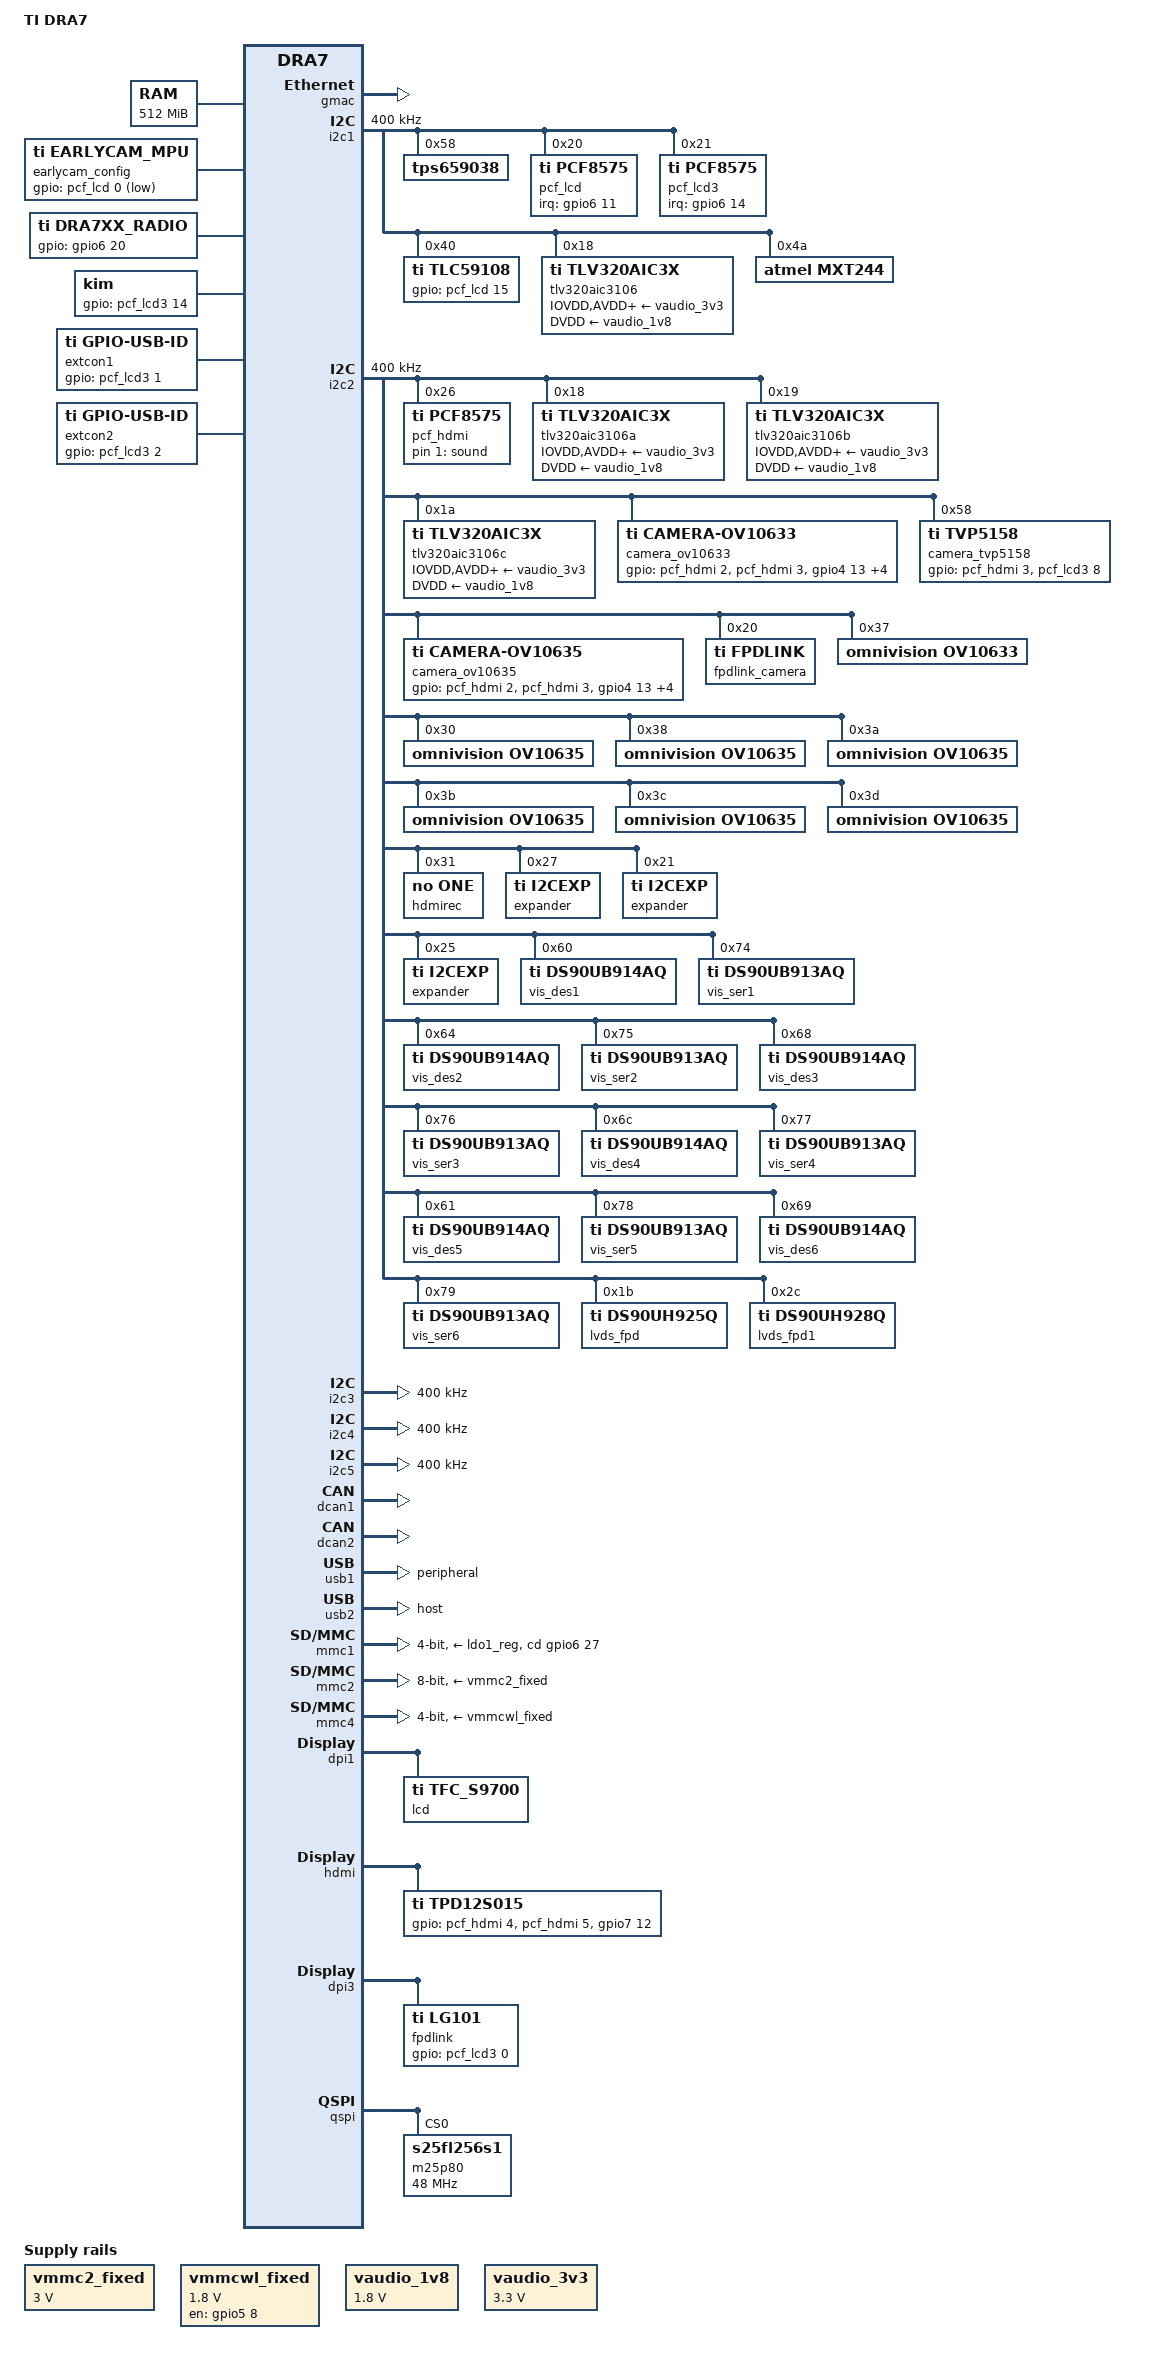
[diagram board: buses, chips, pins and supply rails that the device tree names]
/*
 * Copyright (C) 2013 Texas Instruments Incorporated - http://www.ti.com/
 *
 * This program is free software; you can redistribute it and/or modify
 * it under the terms of the GNU General Public License version 2 as
 * published by the Free Software Foundation.
 */
/dts-v1/;

/*
 * Memory is reserved for ipu1 for rearview camera
 */
/memreserve/ 0x8E000000 0x1000000;
/memreserve/ 0xA0000000 0x1800000;

/include/ "dra7.dtsi"

/ {
	model = "TI DRA7";
	compatible = "ti,dra7-evm", "ti,dra7";

	cpus {
		cpu@0 {
			cpu0-supply = <&abb_mpu>;
		};
	};

	memory {
		device_type = "memory";
		reg = <0x80000000 0x20000000>; /* 512 MB */
	};

	vmmc2_fixed: fixedregulator-mmc2 {
		compatible = "regulator-fixed";
		regulator-name = "vmmc2_fixed";
		regulator-min-microvolt = <3000000>;
		regulator-max-microvolt = <3000000>;
	};

	vmmcwl_fixed: fixedregulator-mmcwl {
		compatible = "regulator-fixed";
		regulator-name = "vmmcwl_fixed";
		regulator-min-microvolt = <1800000>;
		regulator-max-microvolt = <1800000>;
		gpio = <&gpio5 8 0>;	/* gpio5_8 */
		startup-delay-us = <70000>;
		enable-active-high;
	};

	wlcore {
		compatible = "wlcore";
		gpio = <135>;
	};

	earlycam_config {
		compatible = "ti,earlycam_mpu";
		gpios = <&pcf_lcd 0 1>; /* P0, CON_LCD_PWR_DN */
	};

	ocp {
		gpu: gpu@0x56000000 {
			gpu-supply = <&abb_gpu>;
		};
	};

	vaudio_1v8: fixedregulator-vaudio-dig {
		compatible = "regulator-fixed";
		regulator-name = "vdac_fixed";
		regulator-min-microvolt = <1800000>;
		regulator-max-microvolt = <1800000>;
		regulator-boot-on;
	};

	vaudio_3v3: fixedregulator-vaudio-anlg {
		compatible = "regulator-fixed";
		regulator-name = "vdac_fixed";
		regulator-min-microvolt = <3300000>;
		regulator-max-microvolt = <3300000>;
		regulator-boot-on;
	};

	sound {
		compatible = "ti,dra7-evm-sound";
		ti,model = "dra7evm";
		ti,always-on;

		gpios = <&pcf_hdmi 1 0>;

		/* Audio routing */
		ti,audio-routing =
			"LINE1L", "Line In",
			"LINE1R", "Line In",
			"MIC3L", "Mic Bias 2V",
			"MIC3R", "Mic Bias 2V",
			"Mic Bias 2V", "Main Mic",
			"Headphone", "HPLOUT",
			"Headphone", "HPROUT",
			"Line Out", "LLOUT",
			"Line Out", "RLOUT",
			"J3A LINE1L", "JAMR3 Stereo Aux In",
			"J3A LINE1R", "JAMR3 Stereo Aux In",
			"J3B LINE1L", "JAMR3 Mono Mic 1",
			"J3B LINE1R", "JAMR3 Mono Mic 2",
			"JAMR3 Line Out 1", "J3A LLOUT",
			"JAMR3 Line Out 1", "J3A RLOUT",
			"JAMR3 Line Out 2", "J3B LLOUT",
			"JAMR3 Line Out 2", "J3B RLOUT",
			"JAMR3 Line Out 3", "J3C LLOUT",
			"JAMR3 Line Out 3", "J3C RLOUT";

		/* Media DAI link */
		ti,media-cpu = <&mcasp3>;
		ti,media-codec = <&tlv320aic3106>;
		ti,media-mclk-freq = <5644800>;
		ti,media-slots = <2>;

		/* Multichannel DAI link */
		ti,multichannel-cpu = <&mcasp6>;
		ti,multichannel-codec-a = <&tlv320aic3106a>;
		ti,multichannel-codec-b = <&tlv320aic3106b>;
		ti,multichannel-codec-c = <&tlv320aic3106c>;
		ti,multichannel-slots = <8>;
		ti,multichannel-mclk-freq = <11289600>;
		ti,multichannel-shared;

		/* Bluetooth */
		ti,bt-cpu = <&mcasp7>;
		ti,bt-bclk-freq = <512000>;
	};

	sound_hdmi {
		compatible = "ti,omap-hdmi-tpd12s015-audio";
		ti,model = "OMAP5HDMI";
		ti,hdmi_audio = <&hdmi>;
		ti,level_shifter = <&tpd12s015>;
	};

	radio {
		compatible = "ti,dra7xx_radio";
		gpios = <&gpio6 20 0>;

		radio_helper1 {
			compatible = "ti,dra7xx_radio_subdev";
			ti,hwmods = "mcasp2";
			status = "okay";
		};
	};

	kim {
		compatible = "kim";
		nshutdown_gpio = <132>;
		dev_name = "/dev/ttyO2";
		flow_cntrl = <1>;
		baud_rate = <3686400>;
		gpios = <&pcf_lcd3 14 0>; /* pcf8575@21 P16 */
	};

	btwilink {
		compatible = "btwilink";
	};

	display_skipinit {
		skip_init =<1>;
	};

	extcon1: gpio_usbvid_extcon1 {
		compatible = "ti,gpio-usb-id";
		gpios = <&pcf_lcd3 1 0>;
		interrupt_mode = <0>;
		dr_mode = "peripheral";
	};

	extcon2: gpio_usbvid_extcon2 {
		compatible = "ti,gpio-usb-id";
		gpios = <&pcf_lcd3 2 0>;
		interrupt_mode = <0>;
		dr_mode = "host";
	};
};

&dra7_pmx_core {
        pinctrl-names = "default";
        pinctrl-0 = <
		&atl_pins
		&mcasp3_pins
		&mcasp6_pins
		&mcasp7_pins
		&mcasp8_pins
		&vout1_pins
		&vout3_pins
		&usb_pins
		&irq_pins
		&bt_uart3_pins
		&wl_pins
		&wlirq_pins
		&radio_pins
	>;

	i2c1_pins: pinmux_i2c1_pins {
		pinctrl-single,pins = <
			0x400 0x60000	/* i2c1_sda */
			0x404 0x60000	/* i2c1_scl */
		>;
	};

	atl_pins: pinmux_atl_pins {
		pinctrl-single,pins = <
			0x298 0x00000005	/* xref_clk1.atl_clk1 OUTPUT | MODE5 */
			0x29c 0x00000005	/* xref_clk2.atl_clk2 OUTPUT | MODE5 */
		>;
	};

	mcasp3_pins: pinmux_mcasp3_pins {
		pinctrl-single,pins = <
			0x324 0x00000180	/* mcasp3_aclkx.mcasp3_aclkx OUTPUT | MODE0 */
			0x328 0x00000180	/* mcasp3_fsx.mcasp3_fsx OUTPUT | MODE0 */
			0x32c 0x00000180	/* mcasp3_axr0.mcasp3_axr0 OUTPUT | MODE0 */
			0x330 0x00040160	/* mcasp3_axr1.mcasp3_axr1 INPUT | MODE0 */
		>;
	};

	mcasp6_pins: pinmux_mcasp6_pins {
		pinctrl-single,pins = <
			0x2d4 0x000001a1	/* mcasp1_axr8.mcasp6_axr0 OUTPUT | MODE1 */
			0x2d8 0x000401a1	/* mcasp1_axr9.mcasp6_axr1 INPUT | MODE 1 */
			0x2dc 0x000001a1	/* mcasp1_axr10.mcasp6_clkx OUTPUT | MODE1 */
			0x2e0 0x000001a1	/* mcasp1_axr11.mcasp6_fsx OUTPUT | MODE1 */
		>;
	};

	mcasp7_pins: pinmux_mcasp7_pins {
		pinctrl-single,pins = <
			0x2e4 0x000401a1	/* mcasp1_axr12.mcasp7_axr0 INPUT | MODE 1 */
			0x2e8 0x000001a1	/* mcasp1_axr13.mcasp7_axr1 OUTPUT | MODE 1 */
			0x2ec 0x000401a1	/* mcasp1_axr14.mcasp7_clkx INPUT | MODE1 */
			0x2f0 0x000401a1	/* mcasp1_axr15.mcasp7_fsx INPUT | MODE1 */
		>;
	};

	mcasp8_pins: pinmux_mcasp8_pins {
		pinctrl-single,pins = <
			0x2fc 0x00040001	/* mcasp2_aclkr.mcasp8_axr2 OUTPUT | MODE1 */
		>;
	};

	irq_pins: pinmux_irq_pins {
                pinctrl-single,pins = <
			0x420	0x1	/* Wakeup2 INPUT | MODE1 */
                >;
        };

	usb_pins: pinmux_usb_pins {
                pinctrl-single,pins = <
			0x280	0xc000e	/* DRV1_VBUS SLEW | PULLDEN | MODE14 */
			0x284	0xc000e	/* DRV2_VBUS SLEW | PULLDEN | MODE14 */
                >;
        };

	i2c2_pins: pinmux_i2c2_pins {
                pinctrl-single,pins = <
			0x408	0x60000	/* i2c2_sda INPUT | MODE0 */
			0x40C	0x60000	/* i2c2_scl INPUT | MODE0 */
                >;
        };

	vout1_pins: pinmux_vout1_pins {
		pinctrl-single,pins = <
			0x1C8	0x0	/* vout1_clk OUTPUT | MODE0 */
			0x1CC	0x0	/* vout1_de OUTPUT | MODE0 */
			0x1D0	0x0	/* vout1_fld OUTPUT | MODE0 */
			0x1D4	0x0	/* vout1_hsync OUTPUT | MODE0 */
			0x1D8	0x0	/* vout1_vsync OUTPUT | MODE0 */
			0x1DC	0x0	/* vout1_d0 OUTPUT | MODE0 */
			0x1E0	0x0	/* vout1_d1 OUTPUT | MODE0 */
			0x1E4	0x0	/* vout1_d2 OUTPUT | MODE0 */
			0x1E8	0x0	/* vout1_d3 OUTPUT | MODE0 */
			0x1EC	0x0	/* vout1_d4 OUTPUT | MODE0 */
			0x1F0	0x0	/* vout1_d5 OUTPUT | MODE0 */
			0x1F4	0x0	/* vout1_d6 OUTPUT | MODE0 */
			0x1F8	0x0	/* vout1_d7 OUTPUT | MODE0 */
			0x1FC	0x0	/* vout1_d8 OUTPUT | MODE0 */
			0x200	0x0	/* vout1_d9 OUTPUT | MODE0 */
			0x204	0x0	/* vout1_d10 OUTPUT | MODE0 */
			0x208	0x0	/* vout1_d11 OUTPUT | MODE0 */
			0x20C	0x0	/* vout1_d12 OUTPUT | MODE0 */
			0x210	0x0	/* vout1_d13 OUTPUT | MODE0 */
			0x214	0x0	/* vout1_d14 OUTPUT | MODE0 */
			0x218	0x0	/* vout1_d15 OUTPUT | MODE0 */
			0x21C	0x0	/* vout1_d16 OUTPUT | MODE0 */
			0x220	0x0	/* vout1_d17 OUTPUT | MODE0 */
			0x224	0x0	/* vout1_d18 OUTPUT | MODE0 */
			0x228	0x0	/* vout1_d19 OUTPUT | MODE0 */
			0x22C	0x0	/* vout1_d20 OUTPUT | MODE0 */
			0x230	0x0	/* vout1_d21 OUTPUT | MODE0 */
			0x234	0x0	/* vout1_d22 OUTPUT | MODE0 */
			0x238	0x0	/* vout1_d23 OUTPUT | MODE0 */
		>;
	};

	vout3_pins: pinmux_vout3_pins {
		pinctrl-single,pins = <
			0x000	0x3	/*GPMC_AD0  = VOUT3_D0*/
			0x004	0x3	/*GPMC_AD1  = VOUT3_D1*/
			0x008	0x3	/*GPMC_AD2  = VOUT3_D2*/
			0x00c	0x3	/*GPMC_AD3  = VOUT3_D3*/
			0x010	0x3	/*GPMC_AD4  = VOUT3_D4*/
			0x014	0x3	/*GPMC_AD5  = VOUT3_D5*/
			0x018	0x3	/*GPMC_AD6  = VOUT3_D6*/
			0x01c	0x3	/*GPMC_AD7  = VOUT3_D7*/
			0x020	0x3	/*GPMC_AD8  = VOUT3_D8*/
			0x024	0x3	/*GPMC_AD9  = VOUT3_D9*/
			0x028	0x3	/*GPMC_AD10 = VOUT3_D10*/
			0x02c	0x3	/*GPMC_AD11 = VOUT3_D11*/
			0x030	0x3	/*GPMC_AD12 = VOUT3_D12*/
			0x034	0x3	/*GPMC_AD13 = VOUT3_D13*/
			0x038	0x3	/*GPMC_AD14 = VOUT3_D14*/
			0x03c	0x3	/*GPMC_AD15 = VOUT3_D15*/
			0x040	0x3	/*GPMC_A0   = VOUT3_D16*/
			0x044	0x3	/*GPMC_A1   = VOUT3_D17*/
			0x048	0x3	/*GPMC_A2   = VOUT3_D18*/
			0x04c	0x3	/*GPMC_A3   = VOUT3_D19*/
			0x050	0x3	/*GPMC_A4   = VOUT3_D20*/
			0x054	0x3	/*GPMC_A5   = VOUT3_D21*/
			0x058	0x3	/*GPMC_A6   = VOUT3_D22*/
			0x05c	0x3	/*GPMC_A7   = VOUT3_D23*/
			0x060	0x3	/*GPMC_A8   = VOUT3_HSYNC*/
			0x064	0x3	/*GPMC_A9   = VOUT3_VSYNC*/
			0x068	0x3	/*GPMC_A10  = VOUT3_DE*/
			0x06c	0x3	/*GPMC_A11  = VOUT3_FLD*/
			0x0bc	0x3	/*GPMC_CS3  = VOUT3_CLK*/
		>;
	};

	vin1a_pins: pinmux_vin1a_pins {
		pinctrl-single,pins = <
			0x0DC	0x00040000 /* vin1a_clk0 OUTPUT | MODE0 */
			0x0E4	0x00040000 /* vin1a_de0 OUTPUT | MODE0 */
			0x0E8	0x00040000 /* vin1a_fld0 OUTPUT | MODE0 */
			0x0EC	0x00040000 /* vin1a_hsync0	OUTPUT | MODE0 */
			0x0F0	0x00040000 /* vin1a_vsync0 OUTPUT | MODE0 */
			0x0F4	0x00040000 /* vin1a_d0	OUTPUT | MODE0 */
			0x0F8	0x00040000 /* vin1a_d1	OUTPUT | MODE0 */
			0x0FC	0x00040000 /* vin1a_d2	OUTPUT | MODE0 */
			0x100	0x00040000 /* vin1a_d3 	OUTPUT | MODE0 */
			0x104	0x00040000 /* vin1a_d4 	OUTPUT | MODE0 */
			0x108	0x00040000 /* vin1a_d5	OUTPUT | MODE0 */
			0x10C	0x00040000 /* vin1a_d6	OUTPUT | MODE0 */
			0x110	0x00040000 /* vin1a_d7	OUTPUT | MODE0 */
			0x114	0x00040000 /* vin1a_d8	OUTPUT | MODE0 */
			0x118	0x00040000 /* vin1a_d9	OUTPUT | MODE0 */
			0x11C	0x00040000 /* vin1a_d10	OUTPUT | MODE0 */
			0x120	0x00040000 /* vin1a_d11	OUTPUT | MODE0 */
			0x124	0x00040000 /* vin1a_d12	OUTPUT | MODE0 */
			0x128	0x00040000 /* vin1a_d13	OUTPUT | MODE0 */
			0x12C	0x00040000 /* vin1a_d14	OUTPUT | MODE0 */
			0x130	0x00040000 /* vin1a_d15	OUTPUT | MODE0 */
		>;
	};

	vin1a_d16_d23_pins: pinmux_vin1a_d16_d23_pins {
		pinctrl-single,pins = <
			0x134   0x00040000 /* vin1a_d16 OUTPUT | MODE0 */
			0x138   0x00040000 /* vin1a_d17 OUTPUT | MODE0 */
			0x13C   0x00040000 /* vin1a_d18 OUTPUT | MODE0 */
			0x140   0x00040000 /* vin1a_d19 OUTPUT | MODE0 */
			0x144   0x00040000 /* vin1a_d20 OUTPUT | MODE0 */
			0x148   0x00040000 /* vin1a_d21 OUTPUT | MODE0 */
			0x14C   0x00040000 /* vin1a_d22 OUTPUT | MODE0 */
			0x150   0x00040000 /* vin1a_d23 OUTPUT | MODE0 */

		>;
	};

	vin2a_pins: pinmux_vin2a_pins {
		pinctrl-single,pins = <
			0x154	0x00040000 /* vin2a_clk0 OUTPUT | MODE0 */
			0x160	0x00040000 /* vin2a_hsync0 OUTPUT | MODE0 */
			0x164	0x00040000 /* vin2a_vsync0 OUTPUT | MODE0 */
			0x168	0x00040000 /* vin2a_d0	OUTPUT | MODE0 */
			0x16c	0x00040000 /* vin2a_d1	OUTPUT | MODE0 */
			0x170	0x00040000 /* vin2a_d2	OUTPUT | MODE0 */
			0x174	0x00040000 /* vin2a_d3	OUTPUT | MODE0 */
			0x178	0x00040000 /* vin2a_d4	OUTPUT | MODE0 */
			0x17c	0x00040000 /* vin2a_d5	OUTPUT | MODE0 */
			0x180	0x00040000 /* vin2a_d6	OUTPUT | MODE0 */
			0x184	0x00040000 /* vin2a_d7	OUTPUT | MODE0 */
		>;
	};

        vin3a_pins: pinmux_vin3a_pins {
		pinctrl-single,pins = <
			0x0E0	0x00040006 /* vin3a_clk0 OUTPUT | MODE0 */
			0x1C0	0x00040005 /* vin3a_hsync0 OUTPUT | MODE0 */
			0x1C4	0x00040005 /* vin3a_vsync0 OUTPUT | MODE0 */
			0x134	0x00040006 /* vin3a_d0	OUTPUT | MODE0 */
			0x138	0x00040006 /* vin3a_d1	OUTPUT | MODE0 */
			0x13C	0x00040006 /* vin3a_d2	OUTPUT | MODE0 */
			0x140	0x00040006 /* vin3a_d3 	OUTPUT | MODE0 */
			0x144	0x00040006 /* vin3a_d4 	OUTPUT | MODE0 */
			0x148	0x00040006 /* vin3a_d5	OUTPUT | MODE0 */
			0x14C	0x00040006 /* vin3a_d6	OUTPUT | MODE0 */
			0x150	0x00040006 /* vin3a_d7	OUTPUT | MODE0 */
                >;
        };

	vin5a_pins: pinmux_vin5a_pins {
		pinctrl-single,pins = <
			0x374	0x00040009 /* vin5a_clk0 OUTPUT | MODE0 */
			0x39c	0x00040009 /* vin5a_hsync0 OUTPUT | MODE0 */
			0x3a0	0x00040009 /* vin5a_vsync0 OUTPUT | MODE0 */
			0x398	0x00040009 /* vin5a_d0	OUTPUT | MODE0 */
			0x394	0x00040009 /* vin5a_d1	OUTPUT | MODE0 */
			0x390	0x00040009 /* vin5a_d2	OUTPUT | MODE0 */
			0x38c	0x00040009 /* vin5a_d3 	OUTPUT | MODE0 */
			0x388	0x00040009 /* vin5a_d4 	OUTPUT | MODE0 */
			0x384	0x00040009 /* vin5a_d5	OUTPUT | MODE0 */
			0x380	0x00040009 /* vin5a_d6	OUTPUT | MODE0 */
			0x37c	0x00040009 /* vin5a_d7	OUTPUT | MODE0 */
                >;
        };

	vin6a_pins: pinmux_vin6a_pins {
		pinctrl-single,pins = <
			0x298	0x00040007 /* vin6a_clk0 OUTPUT | MODE0 */
			0x2B8	0x00040007 /* vin6a_hsync0 OUTPUT | MODE0 */
			0x2B4	0x00040007 /* vin6a_vsync0 OUTPUT | MODE0 */
			0x330	0x00040007 /* vin6a_d0	OUTPUT | MODE0 */
			0x32C	0x00040007 /* vin6a_d1	OUTPUT | MODE0 */
			0x328	0x00040007 /* vin6a_d2	OUTPUT | MODE0 */
			0x324	0x00040007 /* vin6a_d3	OUTPUT | MODE0 */
			0x310	0x00040007 /* vin6a_d4	OUTPUT | MODE0 */
			0x30C	0x00040007 /* vin6a_d5	OUTPUT | MODE0 */
			0x2F8	0x00040007 /* vin6a_d6	OUTPUT | MODE0 */
			0x2F4	0x00040007 /* vin6a_d7	OUTPUT | MODE0 */
		>;
	};

	cpsw_default_pins: pinmux_cpsw_default_pins {
		pinctrl-single,pins = <
			/* Slave 1 */
			0x250	0x0 /* rgmii1_tclk PIN_OUTPUT | MUX_MODE0 */
			0x254	0x0 /* rgmii1_tctl PIN_OUTPUT | MUX_MODE0 */
			0x258	0x0 /* rgmii1_td3 PIN_OUTPUT | MUX_MODE0 */
			0x25c	0x0 /* rgmii1_td2 PIN_OUTPUT | MUX_MODE0 */
			0x260	0x0 /* rgmii1_td1 PIN_OUTPUT | MUX_MODE0 */
			0x264	0x0 /* rgmii1_td0 PIN_OUTPUT | MUX_MODE0 */
			0x268	0x00040000 /* rgmii1_rclk PIN_INPUT | MUX_MODE0 */
			0x26c	0x00040000 /* rgmii1_rctl PIN_INPUT | MUX_MODE0 */
			0x270	0x00040000 /* rgmii1_rd3 PIN_INPUT | MUX_MODE0 */
			0x274	0x00040000 /* rgmii1_rd2 PIN_INPUT | MUX_MODE0 */
			0x278	0x00040000 /* rgmii1_rd1 PIN_INPUT | MUX_MODE0 */
			0x27c	0x00040000 /* rgmii1_rd0 PIN_INPUT | MUX_MODE0 */

			/* Slave 2 */
			0x198	0x3 /* rgmii2_tclk PIN_OUTPUT | MUX_MODE3 */
			0x19c	0x3 /* rgmii2_tctl PIN_OUTPUT | MUX_MODE3 */
			0x1a0	0x3 /* rgmii2_td3 PIN_OUTPUT | MUX_MODE3 */
			0x1a4	0x3 /* rgmii2_td2 PIN_OUTPUT | MUX_MODE3 */
			0x1a8	0x3 /* rgmii2_td1 PIN_OUTPUT | MUX_MODE3 */
			0x1ac	0x3 /* rgmii2_td0 PIN_OUTPUT | MUX_MODE3 */
			0x1b0	0x00040003 /* rgmii2_rclk PIN_INPUT | MUX_MODE3 */
			0x1b4	0x00040003 /* rgmii2_rctl PIN_INPUT | MUX_MODE3 */
			0x1b8	0x00040003 /* rgmii2_rd3 PIN_INPUT | MUX_MODE3 */
			0x1bc	0x00040003 /* rgmii2_rd2 PIN_INPUT | MUX_MODE3 */
			0x1c0	0x00040003 /* rgmii2_rd1 PIN_INPUT | MUX_MODE3 */
			0x1c4	0x00040003 /* rgmii2_rd0 PIN_INPUT | MUX_MODE3 */
				>;
		};

	davinci_mdio_default_pins: pinmux_davinci_mdio_default_pins {
		pinctrl-single,pins = <
			/* MDIO */
			0x23c	0x30000 /* mdio_data PIN_OUTPUT_PULLUP | MUX_MODE0 */
			0x240	0x70000 /* mdio_clk PIN_INPUT_PULLUP | MUX_MODE0 */
				>;
		};

	bt_uart3_pins: pinmux_bt_uart3_pins {
		pinctrl-single,pins = <
			0x3c0 0x60001	/* spi2_sclk.uart3_rx:  INPUT | PULLUP | MODE 1 */
			0x3c4 0x10001	/* spi2_d1.uart3_tx:    OUTPUT |  MODE 1 */
			0x3c8 0x60001	/* spi2_d0.uart3_cts:   INPUT | PULLUP | MODE 1 */
			0x3cc 0x10001	/* spi2_cs0.uart3_rts:  OUTPUT | MODE 1 */
			0x2bc 0x0000E	/* BT_EN.gp5_4:         OUTPUT | PULLDEN | MODE 14 */
		>;
	};

	wl_pins: pinmux_wl_pins {
		pinctrl-single,pins = <
			0x3e8 0x60003	/* MMC4_CLK: INPUTENABLE | PULLUP | MODE3 */
			0x3ec 0x60003	/* MMC4_CMD: INPUTENABLE | PULLUP | MODE3 */
			0x3f0 0x60003	/* MMC4_DAT0: INPUTENABLE | PULLUP | MODE3 */
			0x3f4 0x60003	/* MMC4_DAT1: INPUTENABLE | PULLUP | MODE3 */
			0x3f8 0x60003	/* MMC4_DAT2: INPUTENABLE | PULLUP | MODE3 */
			0x3fc 0x60003	/* MMC4_DAT3: INPUTENABLE | PULLUP | MODE3 */
			0x2cc 0x2000E	/* WLAN_EN: OUTPUT | MODE14 */
		>;
	};

	wlirq_pins: pinmux_wlirq_pins {
		pinctrl-single,pins = <
			0x2c8 0x106000E	/* WLAN_IRQ: INPUT | WAKEUP_ENABLE | MODE 14 */
		>;
	};

	dcan1_pins: pinmux_dcan1_pins {
		pinctrl-single,pins = <
			0x3d0	0x00000000	/* DCAN1_TX: MODE0 */
			0x3d4	0x00060000	/* DCAN1_RX: MODE0 | INPUTENABLE | PULLUP */
		>;
	};

	dcan2_pins: pinmux_dcan2_pins {
		pinctrl-single,pins = <
			0x288	0x00000002	/* DCAN2_TX: MODE2 */
			0x28C	0x00060002	/* DCAN2_RX: MODE2 | INPUTENABLE | PULLUP */
		>;
	};
	radio_pins: pinmux_radio_pins {
		pinctrl-single,pins = <
			0x02F4	 0x40000	/* MCASP2_ACLKX: MODE0 */
			0x02F8	 0xc0000	/* MCASP2_AFSX: MODE0 */
			0x0304	 0x40000	/* MCASP2_AXR0: MODE0 */
			0x0308	 0x40000	/* MCASP2_AXR1: MODE0 */
			0x030C	 0xc0000	/* MCASP2_AXR2: MODE0 */
			0x0310	 0xc0000	/* MCASP2_AXR3: MODE0 */
			0x0314	 0x40000	/* MCASP2_AXR4: MODE0 */
			0x0318	 0x40000	/* MCASP2_AXR5: MODE0 */
			0x031c	 0x40000	/* MCASP2_AXR6: MODE0 */
			0x0320	 0x40000	/* MCASP2_AXR7: MODE0 */
			0x0334	 0x70004	/* I2C4_SDA: MODE4 */
			0x0338	 0x70004	/* I2C4_SCL: MODE4 */
			0x02A0	 0x5000e	/* GPIO6_20: MODE14 */
		>;
	};
	mmc1_pins: pinmux_mmc1_pins {
		pinctrl-single,pins = <
			0x026C	 0x0004000E	/* GPIO6_27: MODE14 | INPUTENABLE */
		>;
	};

};

&gmac {
	status="okay";
	pinctrl-names = "default";
	pinctrl-0 = <&cpsw_default_pins>;
	dual_emac = <1>;
};

&davinci_mdio {
	pinctrl-names = "default";
	pinctrl-0 = <&davinci_mdio_default_pins>;
};

&cpsw_emac0 {
	phy_id = <&davinci_mdio>, <2>;
};

&cpsw_emac1 {
	phy_id = <&davinci_mdio>, <3>;
};

&i2c1 {
	clock-frequency = <400000>;
        pinctrl-0 = <&i2c1_pins>;
	status = "okay";

	tps659038: tps659038@58 {
		reg = <0x58>;
	};

	pcf_lcd: pcf8575@20 {
		compatible = "ti,pcf8575";
		reg = <0x20>;
		gpio-controller;
		#gpio-cells = <2>;
		/* HACK: Using n_latch in pcf8575 driver to "drive P10/11" to not hold ETH0/1 in reset */
		n_latch = <0xfcfe>;
		interrupt-parent = <&gpio6>;
		interrupts = <11 2>;
		interrupt-controller;
		#interrupt-cells = <2>;
	};

	pcf_lcd3: pcf8575@21 {
		compatible = "ti,pcf8575";
		reg = <0x21>;
		gpio-controller;
		#gpio-cells = <2>;
		n_latch = <0x1408>;
		interrupt-parent = <&gpio6>;
		interrupts = <14 2>;
		interrupt-controller;
		#interrupt-cells = <2>;
	};

	/* TLC chip for LCD panel power and backlight */
	tlc59108: tlc59108@40 {
		compatible = "ti,tlc59108";
		reg = <0x40>;
		gpios = <&pcf_lcd 15 0>; /* P15, CON_LCD_PWR_DN */
	};

	tlv320aic3106: tlv320aic3106@18 {
		compatible = "ti,tlv320aic3x";
		reg = <0x18>;
		adc-settle-ms = <40>;
		IOVDD-supply = <&vaudio_3v3>;
		DVDD-supply = <&vaudio_1v8>;
		AVDD-supply = <&vaudio_3v3>;
		DRVDD-supply = <&vaudio_3v3>;
	};

	mXT244:mXT244@4a {
		reg = <0x4a>;
	};
};

/include/ "tps659038.dtsi"

&i2c2 {
        pinctrl-names = "default";
        pinctrl-0 = <&i2c2_pins>;

	clock-frequency = <400000>;

	pcf_hdmi: pcf8575@26 {
		compatible = "ti,pcf8575";
		reg = <0x26>;
		gpio-controller;
		#gpio-cells = <2>;
		n_latch = <0xfffb>;
	};

	tlv320aic3106a: tlv320aic3106@18 {
		compatible = "ti,tlv320aic3x";
		reg = <0x18>;
		IOVDD-supply = <&vaudio_3v3>;
		DVDD-supply = <&vaudio_1v8>;
		AVDD-supply = <&vaudio_3v3>;
		DRVDD-supply = <&vaudio_3v3>;
	};

	tlv320aic3106b: tlv320aic3106@19 {
		compatible = "ti,tlv320aic3x";
		reg = <0x19>;
		IOVDD-supply = <&vaudio_3v3>;
		DVDD-supply = <&vaudio_1v8>;
		AVDD-supply = <&vaudio_3v3>;
		DRVDD-supply = <&vaudio_3v3>;
	};

	tlv320aic3106c: tlv320aic3106@1a {
		compatible = "ti,tlv320aic3x";
		reg = <0x1a>;
		IOVDD-supply = <&vaudio_3v3>;
		DVDD-supply = <&vaudio_1v8>;
		AVDD-supply = <&vaudio_3v3>;
		DRVDD-supply = <&vaudio_3v3>;
	};

	camera_ov10633: camera_ov10633 {
		compatible = "ti,camera-ov10633";
		gpios = <&pcf_hdmi 2 0>,
			<&pcf_hdmi 3 0>,
			<&gpio4 13 0>,
			<&gpio4 14 0>,
			<&gpio4 15 0>,
			<&gpio4 16 0>,
			<&gpio6 17 0>;
		ovnode = <&i2c2>;
	};

	camera_tvp5158: camera_tvp5158 {
		compatible = "ti,tvp5158";
		reg = <0x58>;
		gpios = <&pcf_hdmi 3 0>,
		       <&pcf_lcd3 8 0>;
		port {
			tvp5158: endpoint {
			// No props incase of BT656
			};
		};
       };

	camera_ov10635: camera_ov10635 {
		compatible = "ti,camera-ov10635";
		gpios = <&pcf_hdmi 2 0>,
			<&pcf_hdmi 3 0>,
			<&gpio4 13 0>,
			<&gpio4 14 0>,
			<&gpio4 15 0>,
			<&gpio4 16 0>,
			<&gpio6 17 0>;
		ovnode = <&i2c2>;
	};

	fpdlink_camera {
		compatible = "ti,fpdlink";
		reg = <0x20>;
		port {
			cam_fpdlink: endpoint {
				hsync-active = <1>;
				vsync-active = <1>;
				pclk-sample = <0>;
				bus-width = <24>;
			};
		};
       };

	ov10633@37 {
		compatible = "omnivision,ov10633";
		reg = <0x37>;

		port {
			onboardLI: endpoint {
				hsync-active = <1>;
				vsync-active = <1>;
				pclk-sample = <1>;
			};
		};
	};

        ov10635@30 {
		compatible = "omnivision,ov10635";
		reg = <0x30>;

		port {
			vis_ovcam: endpoint {
				hsync-active = <1>;
				vsync-active = <1>;
				pclk-sample = <1>;
			};
		};
	};

        ov10635@38 {
		compatible = "omnivision,ov10635";
		reg = <0x38>;
		deserializer = <&vis_des1>;
		serializer = <&vis_ser1>;

		port {
			cam1: endpoint {
				hsync-active = <1>;
				vsync-active = <1>;
				pclk-sample = <1>;
			};
		};
	};

	ov10635@39 {
		compatible = "omnivision,ov10635";
		reg = <0x39>;
		deserializer = <&vis_des2>;
		serializer = <&vis_ser2>;
		status = "disabled";

		port {
			cam2: endpoint {
				hsync-active = <1>;
				vsync-active = <1>;
				pclk-sample = <1>;
			};
		};
	};

	ov10635@3a {
		compatible = "omnivision,ov10635";
		reg = <0x3a>;
		deserializer = <&vis_des3>;
		serializer = <&vis_ser3>;

		port {
			cam3: endpoint {
				hsync-active = <1>;
				vsync-active = <1>;
				pclk-sample = <1>;
			};
		};
	};

	ov10635@3b {
		compatible = "omnivision,ov10635";
		reg = <0x3b>;
		deserializer = <&vis_des4>;
		serializer = <&vis_ser4>;

		port {
			cam4: endpoint {
				hsync-active = <1>;
				vsync-active = <1>;
				pclk-sample = <1>;
			};
		};
	};

	ov10635@3c {
		compatible = "omnivision,ov10635";
		reg = <0x3c>;
		deserializer = <&vis_des5>;
		serializer = <&vis_ser5>;

		port {
			cam5: endpoint {
				hsync-active = <1>;
				vsync-active = <1>;
				pclk-sample = <1>;
			};
		};
	};

	ov10635@3d {
		compatible = "omnivision,ov10635";
		reg = <0x3d>;
		deserializer = <&vis_des6>;
		serializer = <&vis_ser6>;

		port {
			cam6: endpoint {
				hsync-active = <1>;
				vsync-active = <1>;
				pclk-sample = <1>;
			};
		};
	};

	hdmirec: hdmirec@31 {
		compatible = "no,one";
		reg=<0x31>;
	};

	expander@27 {
		compatible = "ti,i2cexp";
		reg=<0x27>;
		hdmirec = <&hdmirec>;
	};

	expander@21 {
		compatible = "ti,i2cexp";
		reg=<0x21>;
		hdmirec = <&hdmirec>;
	};

	expander@25 {
		compatible = "ti,i2cexp";
		reg=<0x25>;
		hdmirec = <&hdmirec>;
	};

	vis_des1: ds90ub914aq@60 {
		compatible = "ti,ds90ub914aq";
		reg = <0x60>;
	};

	vis_ser1: ds90ub913aq@74 {
		compatible = "ti,ds90ub913aq";
		reg = <0x74>;
	};

	vis_des2: ds90ub914aq@64 {
		compatible = "ti,ds90ub914aq";
		reg = <0x64>;
	};

	vis_ser2: ds90ub913aq@75 {
		compatible = "ti,ds90ub913aq";
		reg = <0x75>;
	};

	vis_des3: ds90ub914aq@68 {
		compatible = "ti,ds90ub914aq";
		reg = <0x68>;
	};

	vis_ser3: ds90ub913aq@76 {
		compatible = "ti,ds90ub913aq";
		reg = <0x76>;
	};

	vis_des4: ds90ub914aq@6c {
		compatible = "ti,ds90ub914aq";
		reg = <0x6c>;
	};

	vis_ser4: ds90ub913aq@77 {
		compatible = "ti,ds90ub913aq";
		reg = <0x77>;
	};

	vis_des5: ds90ub914aq@61 {
		compatible = "ti,ds90ub914aq";
		reg = <0x61>;
	};

	vis_ser5: ds90ub913aq@78 {
		compatible = "ti,ds90ub913aq";
		reg = <0x78>;
	};

	vis_des6: ds90ub914aq@69 {
		compatible = "ti,ds90ub914aq";
		reg = <0x69>;
	};

	vis_ser6: ds90ub913aq@79 {
		compatible = "ti,ds90ub913aq";
		reg = <0x79>;
	};

	lvds_fpd: ds90uh925q@1b {
		compatible = "ti,ds90uh925q";
		reg = <0x1b>;
	};

	lvds_fpd1: ds90uh928q@2c {
		compatible = "ti,ds90uh928q";
		reg = <0x2c>;
	};
};

&i2c3 {
	clock-frequency = <400000>;
};

&i2c4 {
	clock-frequency = <400000>;
};

&i2c5 {
	clock-frequency = <400000>;
};

&dcan1 {
	pinctrl-names = "default";
	pinctrl-0 = <&dcan1_pins>;
	status = "okay";
};

&dcan2 {
	pinctrl-names = "default";
	pinctrl-0 = <&dcan2_pins>;
	status = "okay";
};

&usb1 {
	dr_mode = "peripheral";
};

&usb2 {
	dr_mode = "host";
};

&omap_dwc31 {
	extcon = <&extcon1>;
};

&omap_dwc32 {
	extcon = <&extcon2>;
};

&mmc1 {
	vmmc-supply = <&ldo1_reg>;
	bus-width = <4>;
	cd-gpios = <&gpio6 27 0>;
};

&mmc2 {
	vmmc-supply = <&vmmc2_fixed>;
	bus-width = <8>;
	ti,non-removable;
};

&mmc3 {
	bus-width = <8>;
	ti,non-removable;
	status = "disabled";
};

&mmc4 {
	vmmc-supply = <&vmmcwl_fixed>;
	bus-width = <4>;
	cap-power-off-card;
	keep-power-in-suspend;
	ti,non-removable;
};

&avs_mpu {
	avs-supply = <&smps123_reg>;
};

&avs_core {
	avs-supply = <&smps7_reg>;
};

&avs_gpu {
	avs-supply = <&smps6_reg>;
};

&avs_dspeve {
	avs-supply = <&smps45_reg>;
};

&avs_iva {
	avs-supply = <&smps8_reg>;
};

&vip1 {
	pinctrl-names = "default";
	/*
		Pinmux conflict between 1a:16-23 & 2a:0-8
		Either use full 32bit of vin1a or use 16bit vin1a and 8bitvin2a
		TO enable RGB camera, uncomment this
		pinctrl-0 = <&vin1a_pins &vin1a_d16_d23_pins>;
	*/
	pinctrl-0 = <&vin1a_pins &vin1a_d16_d23_pins>;
};

&vip2 {
	pinctrl-names = "default";
	pinctrl-0 = <&vin3a_pins>;
};

&vip3 {
	pinctrl-names = "default";
	//pinctrl-0 = <&vin5a_pins &vin6a_pins>;
	pinctrl-0 = <&vin5a_pins>;
};

&vin1a {
	endpoint@4 {
		slave-mode;
		remote-endpoint = <&cam_fpdlink>;
	};
	endpoint@0 {
		slave-mode;
		remote-endpoint = <&onboardLI>;
	};
	endpoint@1 {
		slave-mode;
		remote-endpoint = <&vis_ovcam>;
	};
	endpoint@2 {
		slave-mode;
		remote-endpoint = <&cam1>;
	};
	endpoint@3 {
                slave-mode;
                remote-endpoint = <&tvp5158>;
        };
};

&vin2a {
	endpoint@0 {
		slave-mode;
		remote-endpoint = <&cam2>;
	};
};

&vin3a {
	endpoint@0 {
		slave-mode;
		remote-endpoint = <&cam3>;
	};
};

&vin4a {
	endpoint@0 {
		slave-mode;
		remote-endpoint = <&cam5>;
	};
};

&vin5a {
	endpoint@0 {
		slave-mode;
		remote-endpoint = <&cam4>;
	};
};

&vin6a {
	endpoint@0 {
		slave-mode;
		remote-endpoint = <&cam6>;
	};
};

&dpi1 {
	lcd {
		compatible = "ti,tfc_s9700";
		tlc = <&tlc59108>;
		data-lines = <24>;
	};
};

&hdmi {
	vdda_hdmi_dac-supply = <&ldo3_reg>;
	tpd12s015: tpd12s015 {
		compatible = "ti,tpd12s015";

		gpios = <&pcf_hdmi 4 0>,	/* pcf8575@22 P4, CT_CP_HDP */
			<&pcf_hdmi 5 0>,	/* pcf8575@22 P5, LS_OE */
			<&gpio7 12 0>;		/* gpio7_12/sp1_cs2, HPD */

		hdmi_ddc = <&i2c2>;

		hdmi-monitor {
			compatible = "ti,hdmi_panel";
		};
	};
};

&dpi3 {
	fpdlink {
		compatible = "ti,lg101";
		gpios = <&pcf_lcd3 0 0>; /* pcf8575@21 P0, SEL_GPMC_AD_VID_S0 */
		data-lines = <24>;

		serializer = <&lvds_fpd>;
		dserializer = <&lvds_fpd1>;
	};
};

&mXT244 {
	compatible = "atmel,mXT244";
	interrupts = <0 119 0x4>;

	atmel,config = <
	/* MXT244_GEN_COMMAND(6) */
	0x00 0x00 0x00 0x00 0x00 0x00
	/* MXT244_GEN_POWER(7) */
	0x20 0xff 0x32
	/* MXT244_GEN_ACQUIRE(8) */
	0x0a 0x00 0x05 0x00 0x00 0x00 0x09 0x23
	/* MXT244_TOUCH_MULTI(9) */
	0x00 0x00 0x00 0x13 0x0b 0x00 0x00 0x00 0x02 0x00
	0x00 0x01 0x01 0x0e 0x0a 0x0a 0x0a 0x0a 0x00 0x00
	0x00 0x00 0x00 0x00 0x00 0x00 0x00 0x00 0x00 0x00
	0x00
	/* MXT244_TOUCH_KEYARRAY(15) */
	0x00 0x00 0x00 0x00 0x00 0x00 0x00 0x00 0x00 0x00
	0x00
	/* MXT244_COMMSCONFIG_T18(2) */
	0x00 0x00
	/* MXT244_SPT_GPIOPWM(19) */
	0x00 0x00 0x00 0x00 0x00 0x00 0x00 0x00 0x00 0x00
	0x00 0x00 0x00 0x00 0x00 0x00
	/* MXT244_PROCI_GRIPFACE(20) */
	0x07 0x00 0x00 0x00 0x00 0x00 0x00 0x50 0x28 0x04
	0x0f 0x0a
	/* MXT244_PROCG_NOISE(22) */
	0x05 0x00 0x00 0x00 0x00 0x00 0x00 0x03 0x23 0x00
	0x00 0x05 0x0f 0x19 0x23 0x2d 0x03
	/* MXT244_TOUCH_PROXIMITY(23) */
	0x00 0x00 0x00 0x00 0x00 0x00 0x00 0x00 0x00 0x00
	0x00 0x00 0x00 0x00 0x00
	/* MXT244_PROCI_ONETOUCH(24) */
	0x00 0x00 0x00 0x00 0x00 0x00 0x00 0x00 0x00 0x00
	0x00 0x00 0x00 0x00 0x00 0x00 0x00 0x00 0x00
	/* MXT244_SPT_SELFTEST(25) */
	0x00 0x00 0x00 0x00 0x00 0x00 0x00 0x00 0x00 0x00
	0x00 0x00 0x00 0x00
	/* MXT244_PROCI_TWOTOUCH(27) */
	0x00 0x00 0x00 0x00 0x00 0x00 0x00
	/* MXT244_SPT_CTECONFIG(28) */
	0x00 0x00 0x02 0x08 0x10 0x00 >;

	atmel,x_line = <18>;
	atmel,y_line = <12>;
	atmel,x_size = <800>;
	atmel,y_size = <480>;
	atmel,blen = <0x01>;
	atmel,threshold = <30>;
	atmel,voltage = <2800000>;
	atmel,orient = <0x4>;
};
&qspi {
	spi-max-frequency = <48000000>;
        m25p80@0 {
                compatible = "s25fl256s1";
                spi-max-frequency = <48000000>;
                reg = <0>;
		spi-cpol;
		spi-cpha;
	};
};
